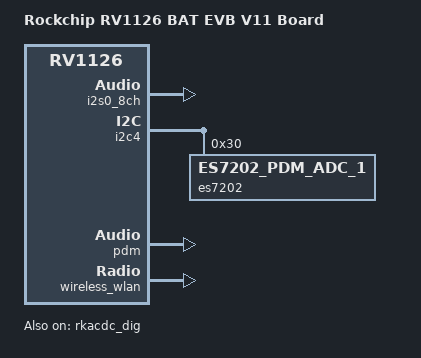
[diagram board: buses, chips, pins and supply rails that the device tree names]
// SPDX-License-Identifier: (GPL-2.0+ OR MIT)
/*
 * Copyright (c) 2021 Rockchip Electronics Co., Ltd.
 */

/dts-v1/;
#include "rv1126-bat-evb-v10.dtsi"

/ {
	model = "Rockchip RV1126 BAT EVB V11 Board";
	compatible = "rockchip,rv1126-bat-evb-v11", "rockchip,rv1126";

	/delete-node/ i2s0-sound;

	es7202_sound: es7202-sound {
		status = "okay";
		compatible = "simple-audio-card";
		simple-audio-card,format = "pdm";
		simple-audio-card,mclk-fs = <256>;
		simple-audio-card,name = "rockchip,es7202-sound";
		simple-audio-card,cpu {
			sound-dai = <&pdm>;
		};
		simple-audio-card,codec {
			sound-dai = <&es7202>;
		};
	};

	rkacdc_dig_sound: rkacdc-dig-sound {
		status = "okay";
		compatible = "simple-audio-card";
		simple-audio-card,format = "i2s";
		simple-audio-card,mclk-fs = <256>;
		simple-audio-card,name = "rockchip,acdc-dig-sound";
		simple-audio-card,bitclock-master = <&sndcodec>;
		simple-audio-card,frame-master = <&sndcodec>;
		sndcpu: simple-audio-card,cpu {
			sound-dai = <&i2s0_8ch>;
		};
		sndcodec: simple-audio-card,codec {
			sound-dai = <&rkacdc_dig>;
		};
	};
};

&i2s0_8ch {
	status = "okay";
	#sound-dai-cells = <0>;
	/delete-property/ pinctrl-names;
	/delete-property/ pinctrl-0;
};

&i2c4 {
	status = "okay";
	pinctrl-0 = <&i2c4m0_xfer>;
	/delete-node/ es8311@18;

	es7202: es7202@30 {
		status = "okay";
		#sound-dai-cells = <0>;
		compatible = "ES7202_PDM_ADC_1";
		reg = <0x30>;
	};
};

&i2c5 {
	status = "disabled";
	/delete-node/ CW2015@62;
};

&rkacdc_dig {
	status = "okay";
	#sound-dai-cells = <0>;
	pinctrl-names = "default";
	pinctrl-0 = <&auddsm_pins>;
	rockchip,pwm-output-mode;
	rockchip,clk-sync-mode;
	rockchip,pa-ctl-mdelay = <200>;
	pa-ctl-gpios = <&gpio2 RK_PA4 GPIO_ACTIVE_HIGH>;
};

&pdm {
	status = "okay";
	#sound-dai-cells = <0>;
	pinctrl-names = "default";
	pinctrl-0 = <&pdmm0_clk &pdmm0_sdi3>;
	rockchip,path-map = <3 0 1 2>;
};

&wireless_wlan {
	wifi_chip_type = "ap6203";
};
